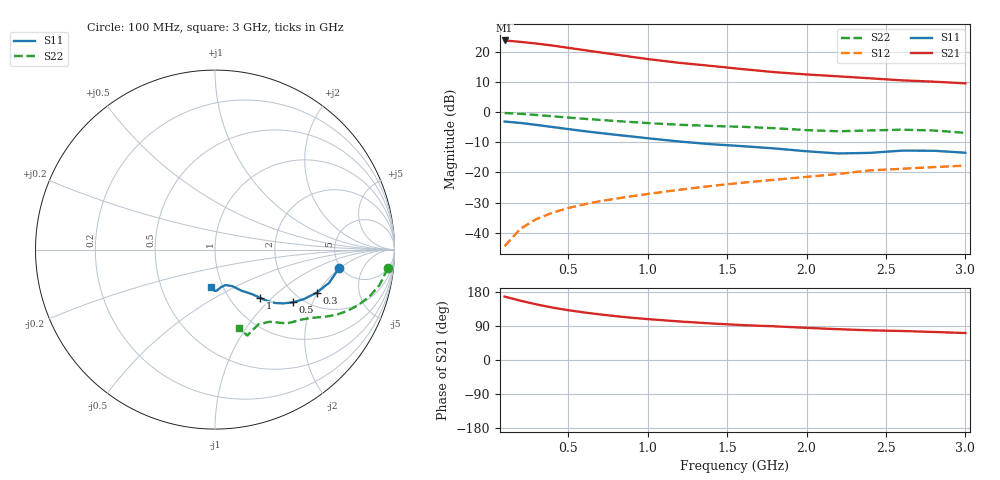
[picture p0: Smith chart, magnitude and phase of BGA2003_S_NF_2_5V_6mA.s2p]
! Title: BGA2003
! Bias: V(Vs_Out)=2.5V; I(CTRL)=6mA controlled / noise data included
! Company: Philips Semiconductors NL
! User: Quality&Reliability DiscreteSemiConductors-Nijmegen
! Measure time: 15 Jan 1999 / 14:07:14
#  MHz  S  MA  R 50
! Freq  S11  S21  S12  S22  :
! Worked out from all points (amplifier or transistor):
!   20 points, 100 MHz to 3 GHz, reference 50 ohm
!   highest |S21| = 23.8 dB at 100 MHz (marker M1)
!   |S21| within 3 dB of that: start of sweep to 575 MHz
!   unconditionally stable (mu >= 1): 1.283 GHz to end of sweep
!   at 400 MHz: K = 0.50, MSG = 27.7 dB, |S12| = -33.4 dB
!   at 1.2 GHz: K = 0.99, MSG = 21.1 dB, |S12| = -25.7 dB
!   at 3 GHz: K = 1.09, MAG = 11.8 dB, |S12| = -17.7 dB
!   lowest NFmin = 1.55 dB at 900 MHz
!   S11 on the Smith chart (normalised r, x): 100 MHz: 4.84, -1.94; 300 MHz: 2.53, -1.95; 500 MHz: 1.78, -1.45; 1 GHz: 1.37, -0.85; 3 GHz: 0.88, -0.39
100  0.6989 -8.4  15.5 167.3  0.005972 84.1  0.9687 -6.2
200  0.6625 -16.2  14.68 156.4  0.01164 81.6  0.9388 -12.0
300  0.6147 -23.0  13.77 146.8  0.01679 78.7  0.8989 -17.0
400  0.5676 -29.0  12.76 138.5  0.02145 77.2  0.8555 -21.2
500  0.5241 -34.1  11.69 131.5  0.02566 76.4  0.8145 -24.7
600  0.4845 -38.2  10.74 125.5  0.02952 75.9  0.7771 -27.5
700  0.4515 -41.3  9.827 120.3  0.03324 76.0  0.7442 -29.7
800  0.4214 -43.5  9.037 115.7  0.03673 76.2  0.7138 -31.7
900  0.3949 -45.3  8.277 111.5  0.04025 76.4  0.6855 -33.4
1000  0.3695 -46.8  7.619 108.0  0.04389 77.1  0.6598 -35.2
1200  0.3259 -50.0  6.588 101.7  0.05159 78.1  0.6178 -39.2
1400  0.2941 -53.8  5.861 96.4  0.0597 79.0  0.5908 -43.1
1600  0.2727 -57.2  5.174 92.0  0.06763 80.0  0.5714 -46.1
1800  0.2501 -60.2  4.613 88.8  0.07555 80.8  0.542 -48.6
2000  0.2245 -64.8  4.227 84.9  0.0844 80.4  0.5037 -52.9
2200  0.2064 -73.3  3.934 81.3  0.0943 80.1  0.482 -59.8
2400  0.2112 -80.6  3.647 78.3  0.1081 79.8  0.4974 -65.9
2600  0.23 -88.0  3.375 76.5  0.115 79.7  0.5121 -69.4
2800  0.229 -91.1  3.208 74.0  0.1226 79.7  0.4962 -70.3
3000  0.2121 -95.6  3.01 71.1  0.1298 79.2  0.4538 -73.2
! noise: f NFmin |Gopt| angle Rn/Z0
900  1.55  0.13  9.1  0.21
1000  1.57  0.12  3.06  0.22
1800  1.58  0.06  69.51  0.21
2000  1.6  0.04  85.09  0.19
2400  1.89  0.05  -23.61  0.18
